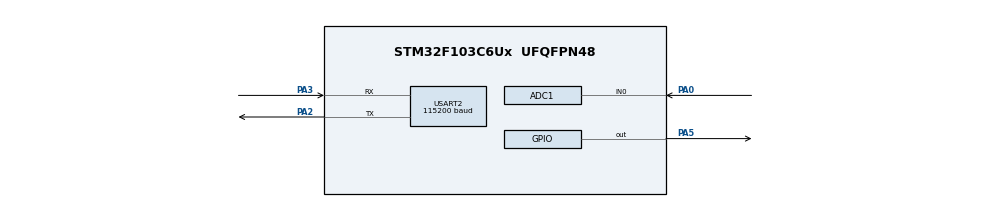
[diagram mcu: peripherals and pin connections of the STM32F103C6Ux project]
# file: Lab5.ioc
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ADC1.Channel-0\#ChannelRegularConversion=ADC_CHANNEL_0
ADC1.ContinuousConvMode=ENABLE
ADC1.NbrOfConversionFlag=1
ADC1.Rank-0\#ChannelRegularConversion=1
ADC1.SamplingTime-0\#ChannelRegularConversion=ADC_SAMPLETIME_1CYCLE_5
ADC1.master=1
Mcu.Family=STM32F1
Mcu.Name=STM32F103C6Ux
Mcu.Package=UFQFPN48
NVIC.PriorityGroup=NVIC_PRIORITYGROUP_4
NVIC.USART2_IRQn=true\:0\:0\:false\:false\:true\:true\:true
PA0-WKUP.Signal=ADCx_IN0
PA2.Mode=Asynchronous
PA2.Signal=USART2_TX
PA3.Mode=Asynchronous
PA3.Signal=USART2_RX
PA5.Signal=GPIO_Output
PA6.Signal=S_TIM3_CH1
ProjectManager.HeapSize=0x200
ProjectManager.StackSize=0x400
ProjectManager.TargetToolchain=STM32CubeIDE
RCC.APB1Freq_Value=8000000
RCC.APB2Freq_Value=8000000
SH.ADCx_IN0.0=ADC1_IN0,IN0
SH.S_TIM3_CH1.0=TIM3_CH1
USART2.BaudRate=115200
USART2.VirtualMode=VM_ASYNC
VP_SYS_VS_ND.Mode=No_Debug
board=custom

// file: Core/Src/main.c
/* USER CODE BEGIN Header */
/**
  ******************************************************************************
  * @file           : main.c
  * @brief          : Main program body
  ******************************************************************************
  * @attention
  *
  * <h2><center>&copy; Copyright (c) 2025 STMicroelectronics.
  * All rights reserved.</center></h2>
  *
  * This software component is licensed by ST under BSD 3-Clause license,
  * the "License"; You may not use this file except in compliance with the
  * License. You may obtain a copy of the License at:
  *                        opensource.org/licenses/BSD-3-Clause
  *
  ******************************************************************************
  */
/* USER CODE END Header */
#include "main.h"

/* USER CODE BEGIN Includes */
#include <stdio.h>
#include "command_parser_fsm.h"
#include "uart_communication_fsm.h"
/* USER CODE END Includes */

ADC_HandleTypeDef hadc1;

UART_HandleTypeDef huart2;

void SystemClock_Config(void);
static void MX_GPIO_Init(void);
static void MX_ADC1_Init(void);
static void MX_USART2_UART_Init(void);

/* USER CODE BEGIN 0 */
uint8_t temp = 0;
void HAL_UART_RxCpltCallback(UART_HandleTypeDef *huart){
    if(huart->Instance == USART2){
    	HAL_GPIO_TogglePin(GPIOA, GPIO_PIN_5);
        buffer_push(temp);
        HAL_UART_Receive_IT(&huart2, &temp, 1);
    }
}
/* USER CODE END 0 */

int main(void)
{

  /* MCU Configuration--------------------------------------------------------*/

  /* Reset of all peripherals, Initializes the Flash interface and the Systick. */
  HAL_Init();

  /* Configure the system clock */
  SystemClock_Config();

  /* Initialize all configured peripherals */
  MX_GPIO_Init();
  MX_ADC1_Init();
  MX_USART2_UART_Init();
  /* USER CODE BEGIN 2 */
  HAL_UART_Receive_IT(&huart2, &temp, 1);
  HAL_ADCEx_Calibration_Start(&hadc1);
  HAL_ADC_Start(&hadc1);

  /* USER CODE END 2 */

  /* Infinite loop */
  /* USER CODE BEGIN WHILE */
  while (1)
  {
	  while (buffer_flag){
	      command_parser_fsm();
	  }
	  uart_communiation_fsm();
    /* USER CODE END WHILE */

  }
}

void SystemClock_Config(void)
{
  RCC_OscInitTypeDef RCC_OscInitStruct = {0};
  RCC_ClkInitTypeDef RCC_ClkInitStruct = {0};
  RCC_PeriphCLKInitTypeDef PeriphClkInit = {0};

  /** Initializes the RCC Oscillators according to the specified parameters
  * in the RCC_OscInitTypeDef structure.
  */
  RCC_OscInitStruct.OscillatorType = RCC_OSCILLATORTYPE_HSI;
  RCC_OscInitStruct.HSIState = RCC_HSI_ON;
  RCC_OscInitStruct.HSICalibrationValue = RCC_HSICALIBRATION_DEFAULT;
  RCC_OscInitStruct.PLL.PLLState = RCC_PLL_NONE;
  if (HAL_RCC_OscConfig(&RCC_OscInitStruct) != HAL_OK)
  {
    Error_Handler();
  }
  /** Initializes the CPU, AHB and APB buses clocks
  */
  RCC_ClkInitStruct.ClockType = RCC_CLOCKTYPE_HCLK|RCC_CLOCKTYPE_SYSCLK
                              |RCC_CLOCKTYPE_PCLK1|RCC_CLOCKTYPE_PCLK2;
  RCC_ClkInitStruct.SYSCLKSource = RCC_SYSCLKSOURCE_HSI;
  RCC_ClkInitStruct.AHBCLKDivider = RCC_SYSCLK_DIV1;
  RCC_ClkInitStruct.APB1CLKDivider = RCC_HCLK_DIV1;
  RCC_ClkInitStruct.APB2CLKDivider = RCC_HCLK_DIV1;

  if (HAL_RCC_ClockConfig(&RCC_ClkInitStruct, FLASH_LATENCY_0) != HAL_OK)
  {
    Error_Handler();
  }
  PeriphClkInit.PeriphClockSelection = RCC_PERIPHCLK_ADC;
  PeriphClkInit.AdcClockSelection = RCC_ADCPCLK2_DIV2;
  if (HAL_RCCEx_PeriphCLKConfig(&PeriphClkInit) != HAL_OK)
  {
    Error_Handler();
  }
}

static void MX_ADC1_Init(void)
{

  ADC_ChannelConfTypeDef sConfig = {0};

  /** Common config
  */
  hadc1.Instance = ADC1;
  hadc1.Init.ScanConvMode = ADC_SCAN_DISABLE;
  hadc1.Init.ContinuousConvMode = ENABLE;
  hadc1.Init.DiscontinuousConvMode = DISABLE;
  hadc1.Init.ExternalTrigConv = ADC_SOFTWARE_START;
  hadc1.Init.DataAlign = ADC_DATAALIGN_RIGHT;
  hadc1.Init.NbrOfConversion = 1;
  if (HAL_ADC_Init(&hadc1) != HAL_OK)
  {
    Error_Handler();
  }
  /** Configure Regular Channel
  */
  sConfig.Channel = ADC_CHANNEL_0;
  sConfig.Rank = ADC_REGULAR_RANK_1;
  sConfig.SamplingTime = ADC_SAMPLETIME_1CYCLE_5;
  if (HAL_ADC_ConfigChannel(&hadc1, &sConfig) != HAL_OK)
  {
    Error_Handler();
  }

}

static void MX_USART2_UART_Init(void)
{

  huart2.Instance = USART2;
  huart2.Init.BaudRate = 115200;
  huart2.Init.WordLength = UART_WORDLENGTH_8B;
  huart2.Init.StopBits = UART_STOPBITS_1;
  huart2.Init.Parity = UART_PARITY_NONE;
  huart2.Init.Mode = UART_MODE_TX_RX;
  huart2.Init.HwFlowCtl = UART_HWCONTROL_NONE;
  huart2.Init.OverSampling = UART_OVERSAMPLING_16;
  if (HAL_UART_Init(&huart2) != HAL_OK)
  {
    Error_Handler();
  }

}

static void MX_GPIO_Init(void)
{
  GPIO_InitTypeDef GPIO_InitStruct = {0};

  /* GPIO Ports Clock Enable */
  __HAL_RCC_GPIOA_CLK_ENABLE();

  /*Configure GPIO pin Output Level */
  HAL_GPIO_WritePin(GPIOA, GPIO_PIN_5, GPIO_PIN_RESET);

  /*Configure GPIO pin : PA5 */
  GPIO_InitStruct.Pin = GPIO_PIN_5;
  GPIO_InitStruct.Mode = GPIO_MODE_OUTPUT_PP;
  GPIO_InitStruct.Pull = GPIO_NOPULL;
  GPIO_InitStruct.Speed = GPIO_SPEED_FREQ_LOW;
  HAL_GPIO_Init(GPIOA, &GPIO_InitStruct);

  /*Configure GPIO pin : PA6 */
  GPIO_InitStruct.Pin = GPIO_PIN_6;
  GPIO_InitStruct.Mode = GPIO_MODE_AF_PP;
  GPIO_InitStruct.Speed = GPIO_SPEED_FREQ_LOW;
  HAL_GPIO_Init(GPIOA, &GPIO_InitStruct);

}

void Error_Handler(void)
{
  __disable_irq();
  while (1)
  {
  }
}

/************************ (C) COPYRIGHT STMicroelectronics *****END OF FILE****/
